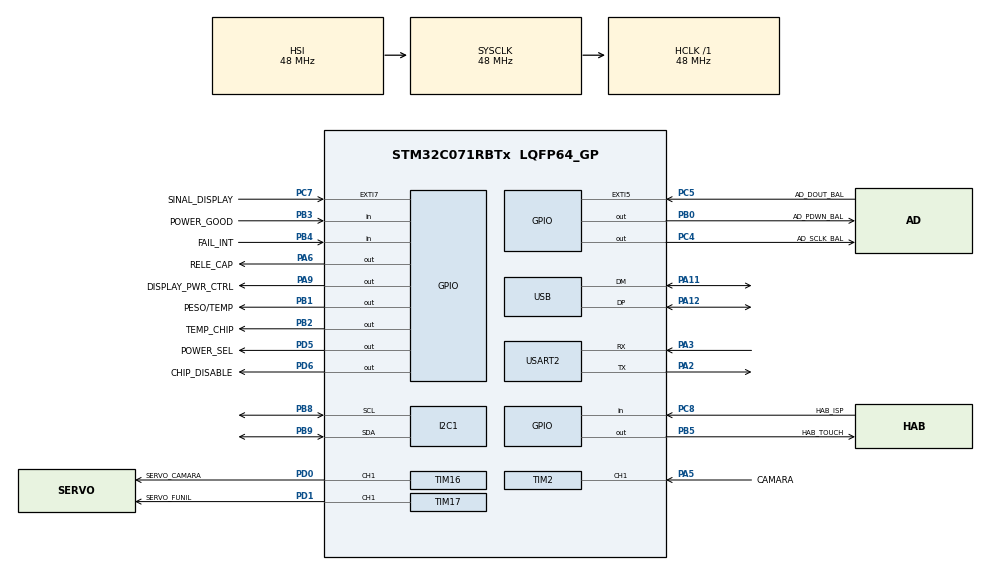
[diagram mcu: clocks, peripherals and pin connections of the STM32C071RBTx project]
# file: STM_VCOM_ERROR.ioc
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ADC1.ClockPrescaler=ADC_CLOCK_SYNC_PCLK_DIV4
ADC1.NbrOfConversionFlag=0
ADC1.SamplingTimeCommon1=ADC_SAMPLETIME_160CYCLES_5
ADC1.SelectedChannel=ADC_CHANNEL_TEMPSENSOR
ADC1.master=1
Dma.Request0=USART2_RX
Dma.Request1=USART2_TX
Dma.USART2_RX.0.Direction=DMA_PERIPH_TO_MEMORY
Dma.USART2_RX.0.EventEnable=DISABLE
Dma.USART2_RX.0.Instance=DMA1_Channel1
Dma.USART2_RX.0.MemDataAlignment=DMA_MDATAALIGN_BYTE
Dma.USART2_RX.0.MemInc=DMA_MINC_ENABLE
Dma.USART2_RX.0.Mode=DMA_NORMAL
Dma.USART2_RX.0.PeriphDataAlignment=DMA_PDATAALIGN_BYTE
Dma.USART2_RX.0.PeriphInc=DMA_PINC_DISABLE
Dma.USART2_RX.0.Polarity=HAL_DMAMUX_REQ_GEN_RISING
Dma.USART2_RX.0.Priority=DMA_PRIORITY_LOW
Dma.USART2_RX.0.RequestNumber=1
Dma.USART2_RX.0.SignalID=NONE
Dma.USART2_RX.0.SyncEnable=DISABLE
Dma.USART2_RX.0.SyncPolarity=HAL_DMAMUX_SYNC_NO_EVENT
Dma.USART2_RX.0.SyncRequestNumber=1
Dma.USART2_RX.0.SyncSignalID=NONE
Dma.USART2_TX.1.Direction=DMA_MEMORY_TO_PERIPH
Dma.USART2_TX.1.EventEnable=DISABLE
Dma.USART2_TX.1.Instance=DMA1_Channel2
Dma.USART2_TX.1.MemDataAlignment=DMA_MDATAALIGN_BYTE
Dma.USART2_TX.1.MemInc=DMA_MINC_ENABLE
Dma.USART2_TX.1.Mode=DMA_NORMAL
Dma.USART2_TX.1.PeriphDataAlignment=DMA_PDATAALIGN_BYTE
Dma.USART2_TX.1.PeriphInc=DMA_PINC_DISABLE
Dma.USART2_TX.1.Polarity=HAL_DMAMUX_REQ_GEN_RISING
Dma.USART2_TX.1.Priority=DMA_PRIORITY_LOW
Dma.USART2_TX.1.RequestNumber=1
Dma.USART2_TX.1.SignalID=NONE
Dma.USART2_TX.1.SyncEnable=DISABLE
Dma.USART2_TX.1.SyncPolarity=HAL_DMAMUX_SYNC_NO_EVENT
Dma.USART2_TX.1.SyncRequestNumber=1
Dma.USART2_TX.1.SyncSignalID=NONE
I2C1.Timing=0x10805D88
Mcu.Family=STM32C0
Mcu.Name=STM32C071RBTx
Mcu.Package=LQFP64_GP
NVIC.DMA1_Channel1_IRQn=true\:0\:0\:true\:false\:true\:false\:true\:true
NVIC.DMA1_Channel2_3_IRQn=true\:0\:0\:true\:false\:true\:false\:true\:true
NVIC.EXTI4_15_IRQn=true\:2\:0\:true\:false\:true\:true\:true\:true
NVIC.I2C1_IRQn=true\:1\:0\:true\:false\:true\:true\:true\:true
NVIC.TIM14_IRQn=true\:1\:0\:true\:false\:true\:true\:true\:true
NVIC.USART2_IRQn=true\:0\:0\:true\:false\:true\:true\:true\:true
NVIC.USB_DRD_FS_IRQn=true\:0\:0\:true\:false\:true\:true\:true\:true
PA11\ [PA9].Mode=Device
PA11\ [PA9].Signal=USB_DM
PA12\ [PA10].Mode=Device
PA12\ [PA10].Signal=USB_DP
PA13.Mode=Serial_Wire
PA13.Signal=DEBUG_SWDIO
PA14-BOOT0.Mode=Serial_Wire
PA14-BOOT0.Signal=DEBUG_SWCLK
PA2.Mode=Asynchronous
PA2.Signal=USART2_TX
PA3.Mode=Asynchronous
PA3.Signal=USART2_RX
PA5.GPIO_Label=CAMARA
PA5.Signal=S_TIM2_CH1
PA6.GPIO_Label=RELE_CAP
PA6.Signal=GPIO_Output
PA9.GPIO_Label=DISPLAY_PWR_CTRL
PA9.Signal=GPIO_Output
PB0.GPIO_Label=AD_PDWN_BAL
PB0.Signal=GPIO_Output
PB1.GPIO_Label=PESO/TEMP
PB1.Signal=GPIO_Output
PB2.GPIO_Label=TEMP_CHIP
PB2.Signal=GPIO_Output
PB3.GPIO_Label=POWER_GOOD
PB3.Signal=GPIO_Input
PB4.GPIO_Label=FAIL_INT
PB4.Signal=GPIO_Input
PB5.GPIO_Label=HAB_TOUCH
PB5.Signal=GPIO_Output
PB8.Mode=I2C
PB8.Signal=I2C1_SCL
PB9.Mode=I2C
PB9.Signal=I2C1_SDA
PC4.GPIO_Label=AD_SCLK_BAL
PC4.Signal=GPIO_Output
PC5.GPIO_Label=AD_DOUT_BAL
PC5.GPIO_ModeDefaultEXTI=GPIO_MODE_EVT_FALLING
PC5.Signal=GPXTI5
PC7.GPIO_Label=SINAL_DISPLAY
PC7.GPIO_PuPd=GPIO_PULLDOWN
PC7.Signal=GPXTI7
PC8.GPIO_Label=HAB_ISP
PC8.Signal=GPIO_Input
PD0.GPIO_Label=SERVO_CAMARA
PD0.Signal=S_TIM16_CH1
PD1.GPIO_Label=SERVO_FUNIL
PD1.Signal=S_TIM17_CH1
PD5.GPIO_Label=POWER_SEL
PD5.Signal=GPIO_Output
PD6.GPIO_Label=CHIP_DISABLE
PD6.Signal=GPIO_Output
ProjectManager.HeapSize=0x200
ProjectManager.StackSize=0x800
ProjectManager.TargetToolchain=MDK-ARM V5.39
RCC.ADCFreq_Value=48000000
RCC.AHBFreq_Value=48000000
RCC.CortexFreq_Value=48000000
RCC.EXTERNAL_CLOCK_VALUE=12288000
RCC.HCLKFreq_Value=48000000
RCC.HSE_VALUE=8000000
RCC.HSI48_VALUE=48000000
RCC.HSISYSCLKDivider=RCC_HSI_DIV1
RCC.HSI_VALUE=48000000
RCC.LSE_VALUE=32768
RCC.SYSCLKFreq_VALUE=48000000
SH.S_TIM16_CH1.0=TIM16_CH1,PWM Generation1 CH1
SH.S_TIM17_CH1.0=TIM17_CH1,PWM Generation1 CH1
SH.S_TIM2_CH1.0=TIM2_CH1,TriggerSource_TI1FP1
TIM14.Period=999
TIM14.Prescaler=47
TIM16.Channel=TIM_CHANNEL_1
TIM17.Channel=TIM_CHANNEL_1
USART2.VirtualMode-Asynchronous=VM_ASYNC
USB.VirtualMode=Device_Only
USBX.BSP.number=1
USBX.Core_System=1
USBX.USBD_CDCACM_EPIN_ADDR=2
USBX.USBD_CDCACM_EPOUT_ADDR=3
USBX.USBX_DEVICE_SYS_SIZE=8192
USBX.UX_DEVICE_APP_MEM_POOL_SIZE_STANDALONE=8192
USBX.UX_DEVICE_CDC_ACM=1
USBX.UX_Device_Controller=1
USBX.UX_Device_CoreStack=1
USBX0.BSP.STBoard=false
USBX0.BSP.api=Unknown
USBX0.BSP.instance=USB
USBX0.BSP.ip=USB
USBX0.BSP.mode=Device_Only
USBX0.BSP.name=USB_Device
USBX0.BSP.solution=USB
VP_ADC1_TempSens_Input.Mode=IN-TempSens
VP_CRC_VS_CRC.Mode=CRC_Activate
VP_RCC_USB.Mode=CRS SYNC Source USB
VP_RTC_VS_RTC_Activate.Mode=RTC_Enabled
VP_RTC_VS_RTC_Calendar.Mode=RTC_Calendar
VP_TIM14_VS_ClockSourceINT.Mode=Enable_Timer
VP_TIM16_VS_ClockSourceINT.Mode=Enable_Timer
VP_TIM17_VS_ClockSourceINT.Mode=Enable_Timer
VP_TIM2_VS_ControllerModeClock.Mode=Clock Mode
VP_USBX_Core_System.Mode=Core_System
VP_USBX_UX\ Device\ CDC\ ACM\ Class_FS.Mode=UX_Device_class_CDC_ACM_FS
VP_USBX_UX\ Device\ Controller_FS.Mode=UX_Device_Controller_FS
VP_USBX_UX\ Device\ CoreStack_FS.Mode=UX_Device_CoreStack_FS
board=NUCLEO-C071RB

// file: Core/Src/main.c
/* USER CODE BEGIN Header */
/**
  ******************************************************************************
  * @file           : main.c
  * @brief          : Main program body
  ******************************************************************************
  * @attention
  *
  * Copyright (c) 2025 STMicroelectronics.
  * All rights reserved.
  *
  * This software is licensed under terms that can be found in the LICENSE file
  * in the root directory of this software component.
  * If no LICENSE file comes with this software, it is provided AS-IS.
  *
  ******************************************************************************
  */
/* USER CODE END Header */
#include "main.h"
#include "adc.h"
#include "crc.h"
#include "dma.h"
#include "i2c.h"
#include "rtc.h"
#include "tim.h"
#include "usart.h"
#include "usb.h"
#include "app_usbx_device.h"
#include "gpio.h"

/* USER CODE BEGIN Includes */
#include "app_manager.h"
#include "cli_driver.h"
#include "cli_controller.h"
#include <stdio.h>
#include <string.h>
/* USER CODE END Includes */

/* USER CODE BEGIN PV */
uint8_t usb_rx_buffer[64];
uint8_t usb_tx_buffer[128];
void USB_Process(void);
/* USER CODE END PV */

int main(void)
{

  /* MCU Configuration--------------------------------------------------------*/

  /* Reset of all peripherals, Initializes the Flash interface and the Systick. */
  HAL_Init();

  /* Configure the system clock */
  SystemClock_Config();

  /* Initialize all configured peripherals */
  MX_GPIO_Init();
  MX_DMA_Init();
  MX_USBX_Device_Init();
  MX_RTC_Init();
  MX_USART2_UART_Init();
  MX_ADC1_Init();
  MX_CRC_Init();
  MX_I2C1_Init();
  MX_TIM2_Init();
  MX_TIM14_Init();
  MX_TIM16_Init();
  MX_TIM17_Init();
  /* USER CODE BEGIN 2 */
	MX_USB_PCD_Init();
	App_Manager_Init();
	CLI_Controller_Init();
	App_Manager_Run_Self_Diagnostics(PRINCIPAL);
  /* USER CODE END 2 */

  /* Infinite loop */
  while (1)
  {

    /* USER CODE BEGIN 3 */

		//USB
    USB_Process();
		CLI_TX_Pump();

		//Sistema
		App_Manager_Process();

	}

  /* USER CODE END 3 */
}

void USB_Process(void)
{
	ux_device_stack_tasks_run();

    uint32_t bytes_received = 0;
    USBD_CDC_ACM_Receive(usb_rx_buffer, sizeof(usb_rx_buffer), &bytes_received);

    if (bytes_received > 0)
    {
      for (int i = 0; i < bytes_received; i++)
      {
        CLI_Receive_Char(usb_rx_buffer[i]);
      }
    }
}

void SystemClock_Config(void)
{
  RCC_OscInitTypeDef RCC_OscInitStruct = {0};
  RCC_ClkInitTypeDef RCC_ClkInitStruct = {0};
  RCC_CRSInitTypeDef RCC_CRSInitStruct = {0};

  __HAL_FLASH_SET_LATENCY(FLASH_LATENCY_1);

  /** Initializes the RCC Oscillators according to the specified parameters
  * in the RCC_OscInitTypeDef structure.
  */
  RCC_OscInitStruct.OscillatorType = RCC_OSCILLATORTYPE_HSI|RCC_OSCILLATORTYPE_LSI
                              |RCC_OSCILLATORTYPE_HSI48;
  RCC_OscInitStruct.HSIState = RCC_HSI_ON;
  RCC_OscInitStruct.HSIDiv = RCC_HSI_DIV1;
  RCC_OscInitStruct.HSICalibrationValue = RCC_HSICALIBRATION_DEFAULT;
  RCC_OscInitStruct.LSIState = RCC_LSI_ON;
  RCC_OscInitStruct.HSI48State = RCC_HSI48_ON;

  if (HAL_RCC_OscConfig(&RCC_OscInitStruct) != HAL_OK)
  {
    Error_Handler();
  }

  /** Initializes the CPU, AHB and APB buses clocks
  */
  RCC_ClkInitStruct.ClockType = RCC_CLOCKTYPE_HCLK|RCC_CLOCKTYPE_SYSCLK
                              |RCC_CLOCKTYPE_PCLK1;
  RCC_ClkInitStruct.SYSCLKSource = RCC_SYSCLKSOURCE_HSI;
  RCC_ClkInitStruct.SYSCLKDivider = RCC_SYSCLK_DIV1;
  RCC_ClkInitStruct.AHBCLKDivider = RCC_HCLK_DIV1;
  RCC_ClkInitStruct.APB1CLKDivider = RCC_APB1_DIV1;

  if (HAL_RCC_ClockConfig(&RCC_ClkInitStruct, FLASH_LATENCY_1) != HAL_OK)
  {
    Error_Handler();
  }

  /** Enable the CRS APB clock
  */
  __HAL_RCC_CRS_CLK_ENABLE();

  /** Configures CRS
  */
  RCC_CRSInitStruct.Prescaler = RCC_CRS_SYNC_DIV1;
  RCC_CRSInitStruct.Source = RCC_CRS_SYNC_SOURCE_USB;
  RCC_CRSInitStruct.Polarity = RCC_CRS_SYNC_POLARITY_RISING;
  RCC_CRSInitStruct.ReloadValue = __HAL_RCC_CRS_RELOADVALUE_CALCULATE(48000000,1000);
  RCC_CRSInitStruct.ErrorLimitValue = 34;
  RCC_CRSInitStruct.HSI48CalibrationValue = 32;

  HAL_RCCEx_CRSConfig(&RCC_CRSInitStruct);
}

void Error_Handler(void)
{
  __disable_irq();
  while (1)
  {
  }
}
